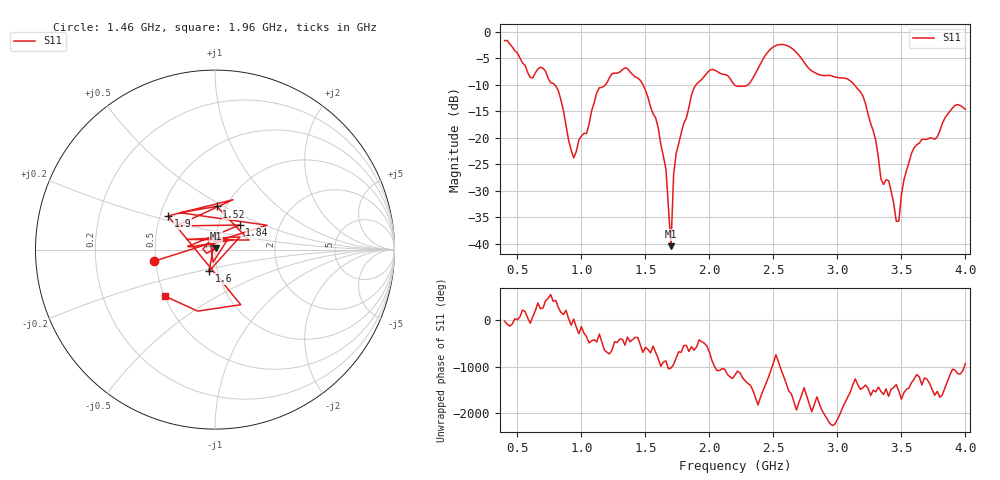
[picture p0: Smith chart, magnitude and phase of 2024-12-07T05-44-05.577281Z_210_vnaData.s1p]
!Created with skrf (http://scikit-rf.org).
# Hz S RI R 50.0
!freq ReS11 ImS11
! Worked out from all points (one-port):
!   181 points, 400 MHz to 4 GHz, reference 50 ohm
!   lowest |S11| = -40.5 dB at 1.7 GHz (marker M1), VSWR 1.02, Z = 50.6 + j0.74 ohm
!   |S11| at or under -10 dB: 791.5 MHz to 1.187 GHz (395 MHz wide, 39.9 % of centre); 1.482 GHz to 1.896 GHz (413.7 MHz wide, 24.5 % of centre); 3.133 GHz to end of sweep (the widest 3 of 4)
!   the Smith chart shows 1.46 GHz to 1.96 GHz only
!   S11 on the Smith chart (normalised r, x): 1.46 GHz: 0.49, -0.07; 1.52 GHz: 0.91, +0.46; 1.6 GHz: 0.91, -0.22; 1.84 GHz: 1.26, +0.36; 1.9 GHz: 0.55, +0.23; 1.96 GHz: 0.50, -0.30
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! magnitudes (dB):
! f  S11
! 400 MHz  -1.6
! 600 MHz  -8.6
! 720 MHz  -7.4
! 860 MHz  -14.9
! 940 MHz  -23.8
! 1.14 GHz  -10.5
! 1.3 GHz  -7.6
! 1.46 GHz  -9.2
! 1.52 GHz  -12.4
! 1.6 GHz  -18.1
! 1.66 GHz  -25.9
! 1.7 GHz  -40.5
! 1.72 GHz  -27.1
! 1.76 GHz  -21.1
! 1.84 GHz  -14.2
! 1.9 GHz  -9.8
! 1.96 GHz  -8.4
! 2.2 GHz  -10.1
! 2.5 GHz  -2.8
! 2.66 GHz  -3.4
! 3.1 GHz  -9.2
! 3.22 GHz  -13.6
! 3.34 GHz  -27.7
! 3.4 GHz  -28.1
! 3.46 GHz  -35.8
! 3.56 GHz  -24.6
! 3.92 GHz  -13.9
! 4 GHz  -14.6
